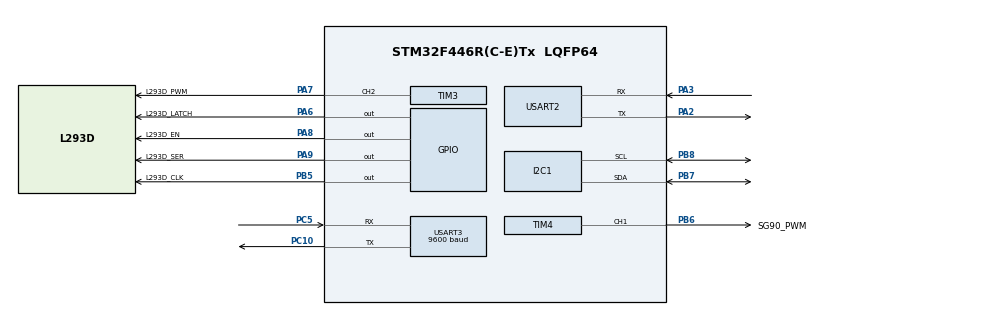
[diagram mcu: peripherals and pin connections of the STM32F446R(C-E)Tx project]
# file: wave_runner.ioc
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Dma.Request0=USART3_RX
Dma.Request1=USART3_TX
Dma.USART3_RX.0.Direction=DMA_PERIPH_TO_MEMORY
Dma.USART3_RX.0.FIFOMode=DMA_FIFOMODE_DISABLE
Dma.USART3_RX.0.Instance=DMA1_Stream1
Dma.USART3_RX.0.MemDataAlignment=DMA_MDATAALIGN_BYTE
Dma.USART3_RX.0.MemInc=DMA_MINC_ENABLE
Dma.USART3_RX.0.Mode=DMA_NORMAL
Dma.USART3_RX.0.PeriphDataAlignment=DMA_PDATAALIGN_BYTE
Dma.USART3_RX.0.PeriphInc=DMA_PINC_DISABLE
Dma.USART3_RX.0.Priority=DMA_PRIORITY_VERY_HIGH
Dma.USART3_TX.1.Direction=DMA_MEMORY_TO_PERIPH
Dma.USART3_TX.1.FIFOMode=DMA_FIFOMODE_DISABLE
Dma.USART3_TX.1.Instance=DMA1_Stream3
Dma.USART3_TX.1.MemDataAlignment=DMA_MDATAALIGN_BYTE
Dma.USART3_TX.1.MemInc=DMA_MINC_ENABLE
Dma.USART3_TX.1.Mode=DMA_NORMAL
Dma.USART3_TX.1.PeriphDataAlignment=DMA_PDATAALIGN_BYTE
Dma.USART3_TX.1.PeriphInc=DMA_PINC_DISABLE
Dma.USART3_TX.1.Priority=DMA_PRIORITY_HIGH
FREERTOS.Tasks01=defaultTask,24,128,StartDefaultTask,Default,NULL,Dynamic,NULL,NULL
Mcu.Family=STM32F4
Mcu.Name=STM32F446R(C-E)Tx
Mcu.Package=LQFP64
NVIC.DMA1_Stream1_IRQn=true\:5\:0\:false\:false\:true\:true\:false\:true\:true
NVIC.DMA1_Stream3_IRQn=true\:5\:0\:false\:false\:true\:true\:false\:true\:true
NVIC.PriorityGroup=NVIC_PRIORITYGROUP_4
NVIC.TIM5_IRQn=true\:5\:0\:false\:false\:true\:true\:true\:true\:true
NVIC.USART3_IRQn=true\:5\:0\:false\:false\:true\:true\:true\:true\:true
PA2.Mode=Asynchronous
PA2.Signal=USART2_TX
PA3.Mode=Asynchronous
PA3.Signal=USART2_RX
PA6.GPIO_Label=L293D_LATCH
PA6.Signal=GPIO_Output
PA7.GPIO_Label=L293D_PWM
PA7.Signal=S_TIM3_CH2
PA8.GPIO_Label=L293D_EN
PA8.Signal=GPIO_Output
PA9.GPIO_Label=L293D_SER
PA9.Signal=GPIO_Output
PB3.Signal=S_TIM2_CH2
PB5.GPIO_Label=L293D_CLK
PB5.Signal=GPIO_Output
PB6.GPIO_Label=SG90_PWM
PB6.Signal=S_TIM4_CH1
PB7.GPIO_Pu=GPIO_PULLUP
PB7.Mode=I2C
PB7.Signal=I2C1_SDA
PB8.GPIO_Pu=GPIO_PULLUP
PB8.Mode=I2C
PB8.Signal=I2C1_SCL
PC10.Mode=Asynchronous
PC10.Signal=USART3_TX
PC5.Mode=Asynchronous
PC5.Signal=USART3_RX
ProjectManager.HeapSize=0x200
ProjectManager.StackSize=0x400
ProjectManager.TargetToolchain=STM32CubeIDE
RCC.CortexFreq_Value=16000000
RCC.USBFreq_Value=96000000
RCC.VCOOutputFreq_Value=192000000
SH.S_TIM2_CH2.0=TIM2_CH2
SH.S_TIM3_CH2.0=TIM3_CH2,PWM Generation2 CH2
SH.S_TIM4_CH1.0=TIM4_CH1,PWM Generation1 CH1
TIM2.Period=2000-1
TIM2.Prescaler=160-1
TIM3.Channel-PWM\ Generation2\ CH2=TIM_CHANNEL_2
TIM3.ClockDivision=TIM_CLOCKDIVISION_DIV4
TIM3.Period=2000
TIM4.Channel-PWM\ Generation1\ CH1=TIM_CHANNEL_1
TIM4.Period=2000-1
TIM4.Prescaler=160-1
TIM4.Pulse-PWM\ Generation1\ CH1=0
TIM5.AutoReloadPreload=TIM_AUTORELOAD_PRELOAD_ENABLE
TIM5.ClockDivision=TIM_CLOCKDIVISION_DIV4
TIM5.Period=8000-1
TIM5.Prescaler=100-1
USART2.VirtualMode=VM_ASYNC
USART3.BaudRate=9600
USART3.VirtualMode=VM_ASYNC
VP_FREERTOS_VS_CMSIS_V2.Mode=CMSIS_V2
VP_TIM2_VS_ClockSourceINT.Mode=Internal
VP_TIM3_VS_ClockSourceINT.Mode=Internal
VP_TIM5_VS_ClockSourceINT.Mode=Internal
board=custom

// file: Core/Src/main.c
#include "devices/SG90.h"
/* USER CODE BEGIN Header */
/*
 * Equipe: Thales Tenebra, Silvio Porto, Antonio
 * Arquivo: main.c
 * Descrição: Arquivo principal responsável pela inicialização do sistema
 * e gerenciamento do FreeRTOS.
 */
/* USER CODE END Header */
#include "main.h"
#include "cmsis_os.h"
/* USER CODE BEGIN Includes */
/* USER CODE BEGIN Includes */
#include <stdio.h>
#include <stdlib.h>
#include <time.h> // Para seed do gerador de números aleatórios
#include "devices/JDY18.h"
#include "devices/SG90.h"
#include "devices/HMC5883L.h"
#include "devices/L293D.h"
#include "config.h"
#include "tasks.h"
#include "debug.h"
#include "queues.h" // Inclui o arquivo de filas
/* USER CODE END Includes */

I2C_HandleTypeDef hi2c1;

TIM_HandleTypeDef htim2;
TIM_HandleTypeDef htim3;
TIM_HandleTypeDef htim4;
TIM_HandleTypeDef htim5;

UART_HandleTypeDef huart2;
UART_HandleTypeDef huart3;
DMA_HandleTypeDef hdma_usart3_rx;
DMA_HandleTypeDef hdma_usart3_tx;

/* Definitions for defaultTask */
osThreadId_t defaultTaskHandle;
const osThreadAttr_t defaultTask_attributes = {
    .name = "defaultTask",
    .stack_size = 128 * 4,
    .priority = (osPriority_t)osPriorityNormal,
};
/* USER CODE BEGIN PV */
#ifdef __GNUC__
#define PUTCHAR_PROTOTYPE int __io_putchar(int ch)
#else
#define PUTCHAR_PROTOTYPE int fputc(int ch, FILE *f)
#endif

PUTCHAR_PROTOTYPE
{
  HAL_UART_Transmit(&huart2, (uint8_t *)&ch, 1, HAL_MAX_DELAY);
  return ch;
}
/* USER CODE END PV */

void SystemClock_Config(void);
static void MX_GPIO_Init(void);
static void MX_DMA_Init(void);
static void MX_TIM3_Init(void);
static void MX_TIM2_Init(void);
static void MX_I2C1_Init(void);
static void MX_USART2_UART_Init(void);
static void MX_USART3_UART_Init(void);
static void MX_TIM5_Init(void);
static void MX_TIM4_Init(void);
void StartDefaultTask(void *argument);

/* USER CODE BEGIN 0 */
osMessageQueueId_t sensorDataQueueHandle;    // Fila para dados de sensores
osMessageQueueId_t actuationDataQueueHandle; // Fila para dados de atuação
/* USER CODE END 0 */

int main(void)
{

  /* MCU Configuration--------------------------------------------------------*/

  /* Reset of all peripherals, Initializes the Flash interface and the Systick. */
  HAL_Init();

  /* Configure the system clock */
  SystemClock_Config();

  /* Initialize all configured peripherals */
  MX_GPIO_Init();
  MX_DMA_Init();
  MX_TIM3_Init();
  MX_TIM2_Init();
  MX_I2C1_Init();
  MX_USART2_UART_Init();
  MX_USART3_UART_Init();
  MX_TIM5_Init();
  MX_TIM4_Init();

  // Inicialização de dispositivos
  JDY18_Init();
  HMC5883LDriver_Init(&hi2c1);

  DEBUG_PRINT("Sistema iniciado.\n");

  // Inicialização do kernel do FreeRTOS
  osKernelInitialize();

  // Criação de filas
  sensorDataQueueHandle = osMessageQueueNew(10, sizeof(SensorData_t), NULL);
  actuationDataQueueHandle = osMessageQueueNew(10, sizeof(ActuationData_t), NULL);
  ;

  TaskActuationArgs_t actuationArgs = {
      .motorTimer = &htim3, // Timer para o motor
      .servoTimer = &htim4, // Timer para o servo
      .motorHandle = {
          .htim = &htim3,
          .channel = TIM_CHANNEL_2,
          .EN_GPIO = GPIOA,
          .EN_Pin = GPIO_PIN_8,
          .LATCH_GPIO = GPIOA,
          .LATCH_Pin = GPIO_PIN_9,
          .SER_GPIO = GPIOA,
          .SER_Pin = GPIO_PIN_10,
          .CLK_GPIO = GPIOA,
          .CLK_Pin = GPIO_PIN_11}};

  CreateTasks(&actuationArgs);

  // Início do kernel do FreeRTOS
  osKernelStart();

  // Loop principal para diagnóstico (caso o kernel pare)
  while (1)
  {
    HAL_Delay(1000);
  }
  /* USER CODE END 3 */
}

void SystemClock_Config(void)
{
  RCC_OscInitTypeDef RCC_OscInitStruct = {0};
  RCC_ClkInitTypeDef RCC_ClkInitStruct = {0};

  /** Configure the main internal regulator output voltage
   */
  __HAL_RCC_PWR_CLK_ENABLE();
  __HAL_PWR_VOLTAGESCALING_CONFIG(PWR_REGULATOR_VOLTAGE_SCALE3);

  /** Initializes the RCC Oscillators according to the specified parameters
   * in the RCC_OscInitTypeDef structure.
   */
  RCC_OscInitStruct.OscillatorType = RCC_OSCILLATORTYPE_HSI;
  RCC_OscInitStruct.HSIState = RCC_HSI_ON;
  RCC_OscInitStruct.HSICalibrationValue = RCC_HSICALIBRATION_DEFAULT;
  RCC_OscInitStruct.PLL.PLLState = RCC_PLL_NONE;
  if (HAL_RCC_OscConfig(&RCC_OscInitStruct) != HAL_OK)
  {
    Error_Handler();
  }

  /** Initializes the CPU, AHB and APB buses clocks
   */
  RCC_ClkInitStruct.ClockType = RCC_CLOCKTYPE_HCLK | RCC_CLOCKTYPE_SYSCLK | RCC_CLOCKTYPE_PCLK1 | RCC_CLOCKTYPE_PCLK2;
  RCC_ClkInitStruct.SYSCLKSource = RCC_SYSCLKSOURCE_HSI;
  RCC_ClkInitStruct.AHBCLKDivider = RCC_SYSCLK_DIV1;
  RCC_ClkInitStruct.APB1CLKDivider = RCC_HCLK_DIV1;
  RCC_ClkInitStruct.APB2CLKDivider = RCC_HCLK_DIV1;

  if (HAL_RCC_ClockConfig(&RCC_ClkInitStruct, FLASH_LATENCY_0) != HAL_OK)
  {
    Error_Handler();
  }
}

static void MX_I2C1_Init(void)
{

  hi2c1.Instance = I2C1;
  hi2c1.Init.ClockSpeed = 100000;
  hi2c1.Init.DutyCycle = I2C_DUTYCYCLE_2;
  hi2c1.Init.OwnAddress1 = 0;
  hi2c1.Init.AddressingMode = I2C_ADDRESSINGMODE_7BIT;
  hi2c1.Init.DualAddressMode = I2C_DUALADDRESS_DISABLE;
  hi2c1.Init.OwnAddress2 = 0;
  hi2c1.Init.GeneralCallMode = I2C_GENERALCALL_DISABLE;
  hi2c1.Init.NoStretchMode = I2C_NOSTRETCH_DISABLE;
  if (HAL_I2C_Init(&hi2c1) != HAL_OK)
  {
    Error_Handler();
  }
}

static void MX_TIM2_Init(void)
{

  TIM_ClockConfigTypeDef sClockSourceConfig = {0};
  TIM_MasterConfigTypeDef sMasterConfig = {0};

  htim2.Instance = TIM2;
  htim2.Init.Prescaler = 160 - 1;
  htim2.Init.CounterMode = TIM_COUNTERMODE_UP;
  htim2.Init.Period = 2000 - 1;
  htim2.Init.ClockDivision = TIM_CLOCKDIVISION_DIV1;
  htim2.Init.AutoReloadPreload = TIM_AUTORELOAD_PRELOAD_DISABLE;
  if (HAL_TIM_Base_Init(&htim2) != HAL_OK)
  {
    Error_Handler();
  }
  sClockSourceConfig.ClockSource = TIM_CLOCKSOURCE_INTERNAL;
  if (HAL_TIM_ConfigClockSource(&htim2, &sClockSourceConfig) != HAL_OK)
  {
    Error_Handler();
  }
  sMasterConfig.MasterOutputTrigger = TIM_TRGO_RESET;
  sMasterConfig.MasterSlaveMode = TIM_MASTERSLAVEMODE_DISABLE;
  if (HAL_TIMEx_MasterConfigSynchronization(&htim2, &sMasterConfig) != HAL_OK)
  {
    Error_Handler();
  }
}

static void MX_TIM3_Init(void)
{

  TIM_ClockConfigTypeDef sClockSourceConfig = {0};
  TIM_MasterConfigTypeDef sMasterConfig = {0};
  TIM_OC_InitTypeDef sConfigOC = {0};

  htim3.Instance = TIM3;
  htim3.Init.Prescaler = 0;
  htim3.Init.CounterMode = TIM_COUNTERMODE_UP;
  htim3.Init.Period = 2000;
  htim3.Init.ClockDivision = TIM_CLOCKDIVISION_DIV4;
  htim3.Init.AutoReloadPreload = TIM_AUTORELOAD_PRELOAD_DISABLE;
  if (HAL_TIM_Base_Init(&htim3) != HAL_OK)
  {
    Error_Handler();
  }
  sClockSourceConfig.ClockSource = TIM_CLOCKSOURCE_INTERNAL;
  if (HAL_TIM_ConfigClockSource(&htim3, &sClockSourceConfig) != HAL_OK)
  {
    Error_Handler();
  }
  if (HAL_TIM_PWM_Init(&htim3) != HAL_OK)
  {
    Error_Handler();
  }
  sMasterConfig.MasterOutputTrigger = TIM_TRGO_RESET;
  sMasterConfig.MasterSlaveMode = TIM_MASTERSLAVEMODE_DISABLE;
  if (HAL_TIMEx_MasterConfigSynchronization(&htim3, &sMasterConfig) != HAL_OK)
  {
    Error_Handler();
  }
  sConfigOC.OCMode = TIM_OCMODE_PWM1;
  sConfigOC.Pulse = 0;
  sConfigOC.OCPolarity = TIM_OCPOLARITY_HIGH;
  sConfigOC.OCFastMode = TIM_OCFAST_DISABLE;
  if (HAL_TIM_PWM_ConfigChannel(&htim3, &sConfigOC, TIM_CHANNEL_2) != HAL_OK)
  {
    Error_Handler();
  }
  HAL_TIM_MspPostInit(&htim3);
}

static void MX_TIM4_Init(void)
{

  TIM_MasterConfigTypeDef sMasterConfig = {0};
  TIM_OC_InitTypeDef sConfigOC = {0};

  htim4.Instance = TIM4;
  htim4.Init.Prescaler = 160 - 1;
  htim4.Init.CounterMode = TIM_COUNTERMODE_UP;
  htim4.Init.Period = 2000 - 1;
  htim4.Init.ClockDivision = TIM_CLOCKDIVISION_DIV1;
  htim4.Init.AutoReloadPreload = TIM_AUTORELOAD_PRELOAD_DISABLE;
  if (HAL_TIM_PWM_Init(&htim4) != HAL_OK)
  {
    Error_Handler();
  }
  sMasterConfig.MasterOutputTrigger = TIM_TRGO_RESET;
  sMasterConfig.MasterSlaveMode = TIM_MASTERSLAVEMODE_DISABLE;
  if (HAL_TIMEx_MasterConfigSynchronization(&htim4, &sMasterConfig) != HAL_OK)
  {
    Error_Handler();
  }
  sConfigOC.OCMode = TIM_OCMODE_PWM1;
  sConfigOC.Pulse = 0;
  sConfigOC.OCPolarity = TIM_OCPOLARITY_HIGH;
  sConfigOC.OCFastMode = TIM_OCFAST_DISABLE;
  if (HAL_TIM_PWM_ConfigChannel(&htim4, &sConfigOC, TIM_CHANNEL_1) != HAL_OK)
  {
    Error_Handler();
  }
  HAL_TIM_MspPostInit(&htim4);
}

static void MX_TIM5_Init(void)
{

  TIM_ClockConfigTypeDef sClockSourceConfig = {0};
  TIM_MasterConfigTypeDef sMasterConfig = {0};

  htim5.Instance = TIM5;
  htim5.Init.Prescaler = 100 - 1;
  htim5.Init.CounterMode = TIM_COUNTERMODE_UP;
  htim5.Init.Period = 8000 - 1;
  htim5.Init.ClockDivision = TIM_CLOCKDIVISION_DIV4;
  htim5.Init.AutoReloadPreload = TIM_AUTORELOAD_PRELOAD_ENABLE;
  if (HAL_TIM_Base_Init(&htim5) != HAL_OK)
  {
    Error_Handler();
  }
  sClockSourceConfig.ClockSource = TIM_CLOCKSOURCE_INTERNAL;
  if (HAL_TIM_ConfigClockSource(&htim5, &sClockSourceConfig) != HAL_OK)
  {
    Error_Handler();
  }
  sMasterConfig.MasterOutputTrigger = TIM_TRGO_RESET;
  sMasterConfig.MasterSlaveMode = TIM_MASTERSLAVEMODE_DISABLE;
  if (HAL_TIMEx_MasterConfigSynchronization(&htim5, &sMasterConfig) != HAL_OK)
  {
    Error_Handler();
  }
}

static void MX_USART2_UART_Init(void)
{

  huart2.Instance = USART2;
  huart2.Init.BaudRate = 115200;
  huart2.Init.WordLength = UART_WORDLENGTH_8B;
  huart2.Init.StopBits = UART_STOPBITS_1;
  huart2.Init.Parity = UART_PARITY_NONE;
  huart2.Init.Mode = UART_MODE_TX_RX;
  huart2.Init.HwFlowCtl = UART_HWCONTROL_NONE;
  huart2.Init.OverSampling = UART_OVERSAMPLING_16;
  if (HAL_UART_Init(&huart2) != HAL_OK)
  {
    Error_Handler();
  }
}

static void MX_USART3_UART_Init(void)
{

  huart3.Instance = USART3;
  huart3.Init.BaudRate = 9600;
  huart3.Init.WordLength = UART_WORDLENGTH_8B;
  huart3.Init.StopBits = UART_STOPBITS_1;
  huart3.Init.Parity = UART_PARITY_NONE;
  huart3.Init.Mode = UART_MODE_TX_RX;
  huart3.Init.HwFlowCtl = UART_HWCONTROL_NONE;
  huart3.Init.OverSampling = UART_OVERSAMPLING_16;
  if (HAL_UART_Init(&huart3) != HAL_OK)
  {
    Error_Handler();
  }
}

static void MX_DMA_Init(void)
{

  /* DMA controller clock enable */
  __HAL_RCC_DMA1_CLK_ENABLE();

  /* DMA interrupt init */
  /* DMA1_Stream1_IRQn interrupt configuration */
  HAL_NVIC_SetPriority(DMA1_Stream1_IRQn, 5, 0);
  HAL_NVIC_EnableIRQ(DMA1_Stream1_IRQn);
  /* DMA1_Stream3_IRQn interrupt configuration */
  HAL_NVIC_SetPriority(DMA1_Stream3_IRQn, 5, 0);
  HAL_NVIC_EnableIRQ(DMA1_Stream3_IRQn);
}

static void MX_GPIO_Init(void)
{
  GPIO_InitTypeDef GPIO_InitStruct = {0};

  /* GPIO Ports Clock Enable */
  __HAL_RCC_GPIOA_CLK_ENABLE();
  __HAL_RCC_GPIOC_CLK_ENABLE();
  __HAL_RCC_GPIOB_CLK_ENABLE();

  /*Configure GPIO pin Output Level */
  HAL_GPIO_WritePin(GPIOA, L293D_LATCH_Pin | L293D_EN_Pin | L293D_SER_Pin, GPIO_PIN_RESET);

  /*Configure GPIO pin Output Level */
  HAL_GPIO_WritePin(L293D_CLK_GPIO_Port, L293D_CLK_Pin, GPIO_PIN_RESET);

  /*Configure GPIO pins : L293D_LATCH_Pin L293D_EN_Pin L293D_SER_Pin */
  GPIO_InitStruct.Pin = L293D_LATCH_Pin | L293D_EN_Pin | L293D_SER_Pin;
  GPIO_InitStruct.Mode = GPIO_MODE_OUTPUT_PP;
  GPIO_InitStruct.Pull = GPIO_NOPULL;
  GPIO_InitStruct.Speed = GPIO_SPEED_FREQ_LOW;
  HAL_GPIO_Init(GPIOA, &GPIO_InitStruct);

  /*Configure GPIO pin : L293D_CLK_Pin */
  GPIO_InitStruct.Pin = L293D_CLK_Pin;
  GPIO_InitStruct.Mode = GPIO_MODE_OUTPUT_PP;
  GPIO_InitStruct.Pull = GPIO_NOPULL;
  GPIO_InitStruct.Speed = GPIO_SPEED_FREQ_LOW;
  HAL_GPIO_Init(L293D_CLK_GPIO_Port, &GPIO_InitStruct);

}

void StartDefaultTask(void *argument)
{
  for (;;)
  {
    osDelay(1);
  }
}

void Error_Handler(void)
{
  __disable_irq();
  while (1)
  {
  }
}
